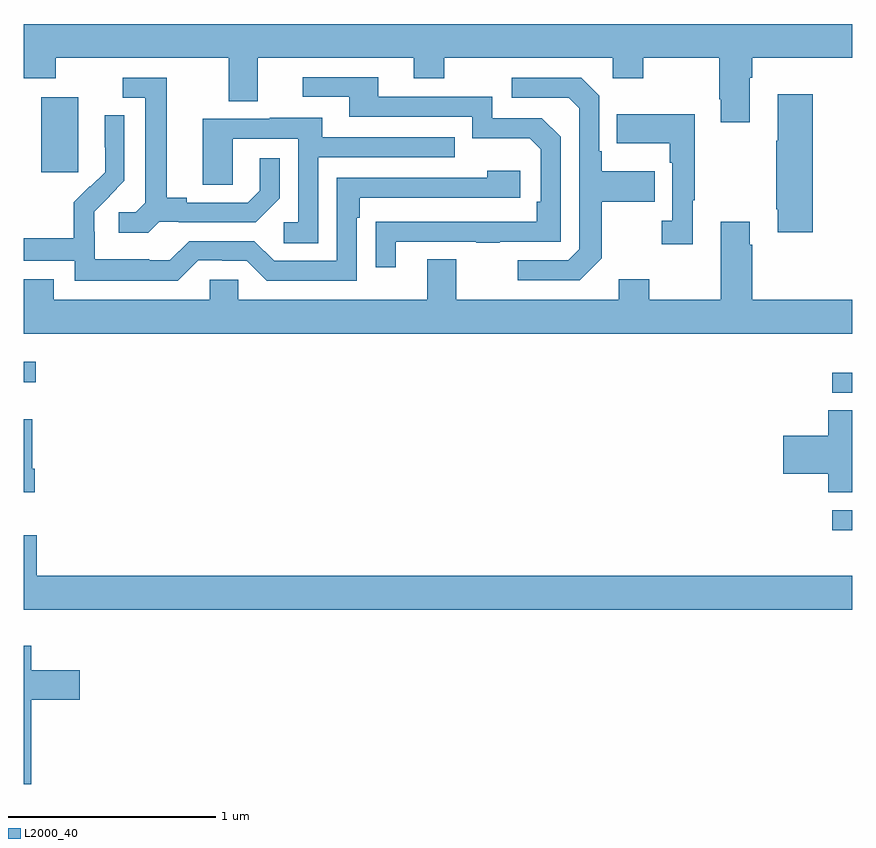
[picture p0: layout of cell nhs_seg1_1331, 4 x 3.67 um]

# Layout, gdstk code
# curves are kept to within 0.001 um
import gdstk
lib = gdstk.Library(unit=1e-6, precision=1e-09)
def R(c, l, rs):  # rectangles x0, y0, x1, y1
    for r in rs: c.add(gdstk.rectangle(r[:2], r[2:], *l))
def P(c, l, *ps):  # polygons
    for p in ps: c.add(gdstk.Polygon(p, *l))
L2000_40 = (2000, 40)

nhs_seg1_1331 = lib.new_cell('nhs_seg1_1331')
R(nhs_seg1_1331, L2000_40, [(186.903,553.447,187,553.545), (186.903,554.112,187,554.208), (183,554.163,183.058,554.26), (183.083,555.177,183.262,555.538)])
P(nhs_seg1_1331, L2000_40, [(186.505,555.632),(186.518,555.632),(186.518,555.728),(187,555.728),(187,555.892),(183,555.892),(183,555.629),(183.153,555.629),(183.153,555.728),(183.989,555.728),(183.989,555.52),(184.129,555.52),(184.129,555.728),(184.883,555.728),(184.883,555.629),(185.031,555.629),(185.031,555.728),(185.844,555.728),(185.844,555.629),(185.991,555.629),(185.991,555.728),(186.358,555.728),(186.358,555.529),(186.365,555.529),(186.365,555.417),(186.505,555.417)],
  [(184.795,554.841),(185.185,554.841),(185.185,554.836),(185.297,554.836),(185.297,554.841),(185.592,554.841),(185.592,555.348),(185.502,555.438),(185.262,555.438),(185.262,555.54),(184.711,555.54),(184.711,555.636),(184.347,555.636),(184.347,555.54),(184.571,555.54),(184.571,555.444),(185.166,555.444),(185.166,555.341),(185.443,555.341),(185.496,555.288),(185.496,555.034),(185.476,555.034),(185.476,554.937),(184.699,554.936),(184.699,554.718),(184.795,554.718)],
  [(183.654,554.937),(183.748,554.937),(183.748,554.934),(184.12,554.934),(184.236,555.05),(184.236,555.244),(184.139,555.244),(184.139,555.087),(184.082,555.03),(183.787,555.03),(183.787,555.053),(183.691,555.053),(183.691,555.633),(183.477,555.633),(183.477,555.537),(183.587,555.537),(183.587,555.029),(183.54,554.982),(183.459,554.982),(183.459,554.885),(183.602,554.885)],
  [(185.791,554.761),(185.791,555.034),(186.047,555.034),(186.047,555.181),(185.791,555.181),(185.791,555.277),(185.778,555.277),(185.778,555.546),(185.691,555.633),(185.355,555.633),(185.355,555.537),(185.631,555.537),(185.682,555.486),(185.682,554.805),(185.628,554.751),(185.385,554.751),(185.385,554.655),(185.685,554.655)],
  [(186.809,555.553),(186.641,555.553),(186.641,555.329),(186.634,555.329),(186.634,554.998),(186.641,554.998),(186.641,554.886),(186.809,554.886)],
  [(186.229,555.041),(186.241,555.041),(186.241,555.457),(185.863,555.457),(185.863,555.317),(186.12,555.317),(186.12,555.221),(186.132,555.221),(186.132,554.942),(186.081,554.942),(186.081,554.829),(186.229,554.829)],
  [(183.843,554.751),(183.959,554.751),(183.959,554.748),(184.077,554.748),(184.173,554.652),(184.608,554.652),(184.608,554.957),(184.621,554.957),(184.621,555.054),(185.398,555.054),(185.398,555.184),(185.237,555.184),(185.237,555.15),(184.512,555.15),(184.512,554.748),(184.209,554.748),(184.113,554.844),(183.798,554.844),(183.705,554.751),(183.605,554.751),(183.605,554.755),(183.342,554.755),(183.342,554.889),(183.34,554.889),(183.34,554.986),(183.486,555.134),(183.486,555.452),(183.39,555.452),(183.39,555.298),(183.392,555.298),(183.392,555.176),(183.321,555.105),(183.318,555.108),(183.241,555.031),(183.241,554.857),(183,554.857),(183,554.748),(183.246,554.748),(183.246,554.651),(183.743,554.651)],
  [(184.422,555.249),(185.081,555.249),(185.081,555.345),(184.441,555.345),(184.441,555.439),(184.187,555.439),(184.187,555.435),(183.863,555.435),(183.863,555.115),(184.008,555.115),(184.008,555.339),(184.326,555.339),(184.326,554.934),(184.254,554.934),(184.254,554.833),(184.422,554.833)],
  [(187,554.56),(186.518,554.56),(186.518,554.825),(186.505,554.825),(186.505,554.938),(186.365,554.938),(186.365,554.56),(186.021,554.56),(186.021,554.659),(185.873,554.659),(185.873,554.56),(185.089,554.56),(185.089,554.755),(184.949,554.755),(184.949,554.56),(184.035,554.56),(184.035,554.658),(183.897,554.658),(183.897,554.56),(183.145,554.56),(183.145,554.659),(183,554.659),(183,554.396),(187,554.396)],
  [(187,554.027),(186.884,554.027),(186.884,553.904),(186.666,553.904),(186.666,553.721),(186.884,553.721),(186.884,553.63),(187,553.63)],
  [(183.053,553.744),(183.04,553.744),(183.04,553.984),(183,553.984),(183,553.632),(183.053,553.632)],
  [(187,553.228),(183.062,553.228),(183.062,553.423),(183,553.423),(183,553.064),(187,553.064)],
  [(183.035,552.629),(183.271,552.629),(183.271,552.771),(183.035,552.771),(183.035,552.889),(183,552.889),(183,552.222),(183.035,552.222)])

lib.write_gds('nhs_seg1_1331.gds')
